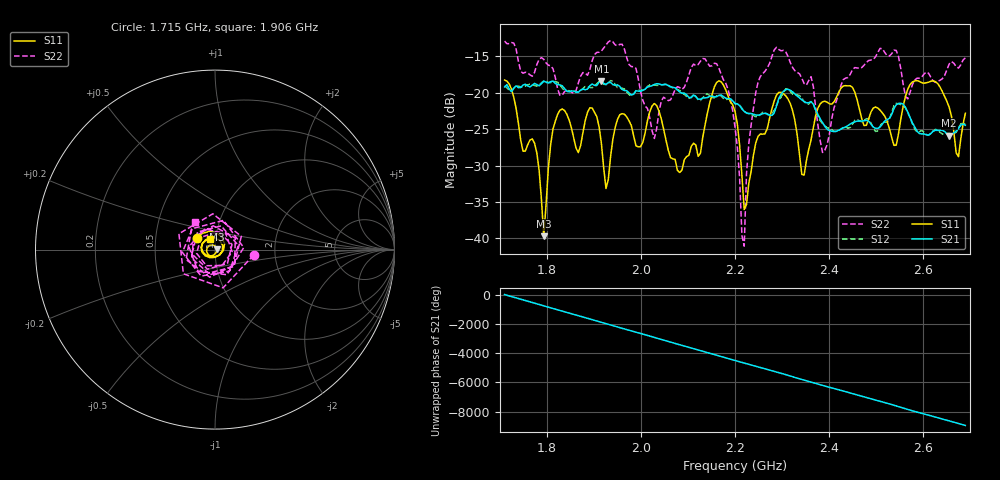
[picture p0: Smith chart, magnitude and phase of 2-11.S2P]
!Agilent Technologies,E5061B,MY49305579,A.02.22
!Date: Thu Aug 24 16:28:42 2017
!Data & Calibration Information:
!Freq	S11:SOLT2(ON)	S21:SOLT2(ON)	S12:SOLT2(ON)	S22:SOLT2(ON)
# Hz S dB R 50
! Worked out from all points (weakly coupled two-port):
!   201 points, 1.71 GHz to 2.69 GHz, reference 50 ohm
!   highest |S21| = -18.37 dB at 1.916 GHz (marker M1); lowest = -25.9 dB at 2.656 GHz (marker M2)
!   lowest |S11| = -39.7 dB at 1.793 GHz (marker M3), VSWR 1.02, Z = 51 + j0.229 ohm
!   |S11| at or under -10 dB: start of sweep to end of sweep
!   |S22| runs from -41.1 to -12.8 dB; largest |S21 - S12| = 0.0071
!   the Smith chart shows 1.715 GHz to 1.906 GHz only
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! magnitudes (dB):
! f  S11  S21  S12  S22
! 1.71 GHz  -18.2  -19.2  -19.1  -12.9
! 1.774 GHz  -26.9  -18.7  -19.0  -17.2
! 1.793 GHz  -39.7  -18.4  -18.4  -15.4
! 1.823 GHz  -23.0  -18.9  -18.5  -19.4
! 1.877 GHz  -25.4  -19.5  -19.4  -17.2
! 1.916 GHz  -26.9  -18.4  -18.5  -14.3
! 1.926 GHz  -33.1  -18.8  -18.9  -13.4
! 1.955 GHz  -23.0  -19.1  -19.4  -13.3
! 2.038 GHz  -22.5  -18.8  -19.0  -22.6
! 2.082 GHz  -30.9  -19.9  -19.7  -19.3
! 2.136 GHz  -24.4  -20.7  -20.3  -15.3
! 2.2 GHz  -22.5  -21.5  -21.5  -24.7
! 2.22 GHz  -36.0  -22.5  -22.5  -41.1
! 2.229 GHz  -32.4  -22.8  -22.9  -26.9
! 2.254 GHz  -25.7  -23.0  -23.0  -17.8
! 2.308 GHz  -20.4  -19.5  -19.5  -14.3
! 2.347 GHz  -31.3  -21.2  -21.2  -18.7
! 2.367 GHz  -24.8  -21.6  -21.5  -19.2
! 2.386 GHz  -21.2  -24.1  -24.2  -28.2
! 2.528 GHz  -24.9  -23.5  -23.7  -14.9
! 2.656 GHz  -22.0  -25.9  -25.5  -16.0
! 2.69 GHz  -22.8  -24.4  -24.4  -15.2
